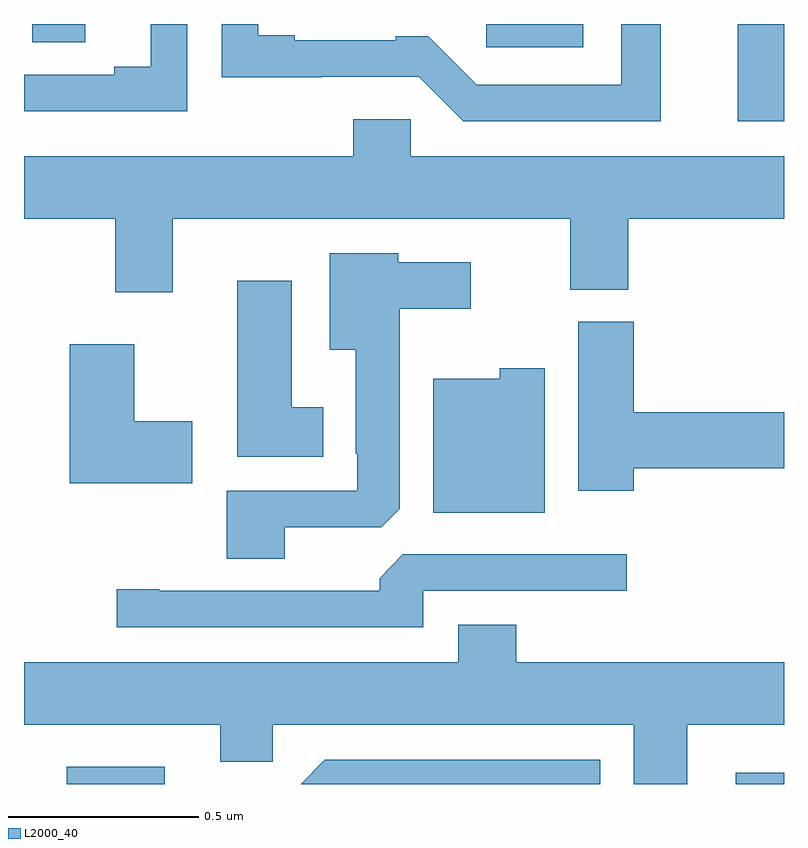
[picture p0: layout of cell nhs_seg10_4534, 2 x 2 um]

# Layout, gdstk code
import gdstk
lib = gdstk.Library(unit=1e-6, precision=1e-09)
def R(c, l, rs):  # rectangles x0, y0, x1, y1
    for r in rs: c.add(gdstk.rectangle(r[:2], r[2:], *l))
def P(c, l, *ps):  # polygons
    for p in ps: c.add(gdstk.Polygon(p, *l))
L2000_40 = (2000, 40)

nhs_seg10_4534 = lib.new_cell('nhs_seg10_4534')
R(nhs_seg10_4534, L2000_40, [(167.113,1293.5,167.371,1293.546), (168.873,1293.5,169,1293.529), (168.878,1295.244,169,1295.5), (168.216,1295.439,168.472,1295.5), (167.022,1295.452,167.161,1295.5)])
P(nhs_seg10_4534, L2000_40, [(168.676,1295.5),(168.572,1295.5),(168.572,1295.34),(168.192,1295.34),(168.064,1295.468),(167.978,1295.468),(167.978,1295.457),(167.713,1295.457),(167.713,1295.47),(167.617,1295.47),(167.617,1295.5),(167.52,1295.5),(167.52,1295.36),(167.783,1295.36),(167.783,1295.361),(168.039,1295.361),(168.156,1295.244),(168.676,1295.244)],
  [(167.43,1295.5),(167.333,1295.5),(167.333,1295.387),(167.237,1295.387),(167.237,1295.367),(167,1295.367),(167,1295.271),(167.43,1295.271)],
  [(167.392,1294.988),(168.437,1294.988),(168.437,1294.801),(168.59,1294.801),(168.59,1294.988),(169,1294.988),(169,1295.152),(168.018,1295.152),(168.018,1295.25),(167.867,1295.25),(167.867,1295.152),(167,1295.152),(167,1294.988),(167.24,1294.988),(167.24,1294.794),(167.392,1294.794)],
  [(167.686,1294.176),(167.94,1294.176),(167.989,1294.225),(167.989,1294.751),(168.175,1294.751),(168.175,1294.873),(167.985,1294.873),(167.985,1294.897),(167.804,1294.897),(167.804,1294.643),(167.873,1294.643),(167.873,1294.369),(167.877,1294.369),(167.877,1294.272),(167.534,1294.272),(167.534,1294.093),(167.686,1294.093)],
  [(167.788,1294.492),(167.704,1294.492),(167.704,1294.825),(167.561,1294.825),(167.561,1294.361),(167.788,1294.361)],
  [(168.605,1294.331),(169,1294.331),(169,1294.478),(168.605,1294.478),(168.605,1294.716),(168.458,1294.716),(168.458,1294.272),(168.605,1294.272)],
  [(167.443,1294.455),(167.29,1294.455),(167.29,1294.657),(167.12,1294.657),(167.12,1294.292),(167.443,1294.292)],
  [(168.37,1294.594),(168.252,1294.594),(168.252,1294.567),(168.077,1294.567),(168.077,1294.214),(168.37,1294.214)],
  [(168.051,1294.008),(168.586,1294.008),(168.586,1294.104),(167.997,1294.104),(167.936,1294.042),(167.936,1294.008),(167.356,1294.008),(167.356,1294.013),(167.244,1294.013),(167.244,1293.912),(168.051,1293.912)],
  [(168.745,1293.656),(169,1293.656),(169,1293.82),(168.296,1293.82),(168.296,1293.919),(168.143,1293.919),(168.143,1293.82),(167,1293.82),(167,1293.656),(167.516,1293.656),(167.516,1293.558),(167.655,1293.558),(167.655,1293.656),(168.605,1293.656),(168.605,1293.5),(168.745,1293.5)],
  [(168.516,1293.564),(167.792,1293.564),(167.728,1293.5),(168.516,1293.5)])

lib.write_gds('nhs_seg10_4534.gds')
